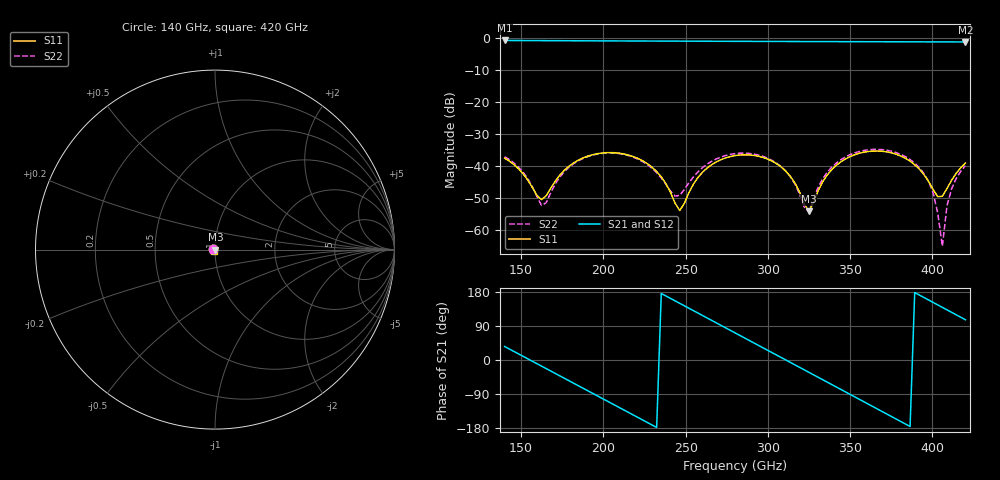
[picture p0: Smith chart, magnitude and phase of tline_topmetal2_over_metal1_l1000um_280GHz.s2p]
#  GHZ S DB R 50
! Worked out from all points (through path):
!   101 points, 140 GHz to 420 GHz, reference 50 ohm
!   highest |S21| = -0.81 dB at 140 GHz (marker M1); lowest = -1.3 dB at 420 GHz (marker M2)
!   group delay of S21, straight-line fit = 6.44 ps
!   lowest |S11| = -54.2 dB at 324.8 GHz (marker M3), VSWR 1.00, Z = 50.2 - j0.0438 ohm
!   |S11| at or under -10 dB: start of sweep to end of sweep
!   |S22| runs from -65.1 to -34.8 dB; largest |S21 - S12| = 1e-13
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140  -37.59 169.1  -0.81 35.7  -0.81 35.7  -37.12 172.5
151.2  -42.46 128.3  -0.83 9.8  -0.83 9.8  -41.97 134.8
162.4  -50.57 32.6  -0.86 -16.1  -0.86 -16.1  -52.35 45.0
187.6  -37.53 -114.7  -0.91 -74.3  -0.91 -74.3  -37.70 -116.2
207.2  -35.91 -171.8  -0.95 -119.7  -0.95 -119.7  -36.04 -173.1
221.2  -37.72 148.0  -0.98 -152.1  -0.98 -152.1  -37.96 145.3
235.2  -43.43 102.1  -1.00 175.5  -1.00 175.5  -43.80 92.2
246.4  -53.94 0.2  -1.02 149.6  -1.02 149.6  -49.23 -13.9
260.4  -41.93 -112.6  -1.05 117.1  -1.05 117.1  -40.49 -103.3
280  -36.80 -171.3  -1.08 71.7  -1.08 71.7  -36.18 -163.9
308  -40.34 109.5  -1.12 6.7  -1.12 6.7  -40.23 116.5
324.8  -54.24 -13.0  -1.15 -32.3  -1.15 -32.3  -54.38 -20.4
327.6  -51.61 -61.9  -1.15 -38.8  -1.15 -38.8  -50.55 -64.3
336  -42.89 -115.4  -1.16 -58.3  -1.16 -58.3  -42.05 -110.5
350  -37.10 -159.2  -1.18 -90.8  -1.18 -90.8  -36.49 -152.2
375.2  -35.95 131.9  -1.22 -149.4  -1.22 -149.4  -35.44 143.3
397.6  -44.85 52.5  -1.25 158.4  -1.25 158.4  -44.84 90.9
403.2  -49.64 -1.9  -1.25 145.4  -1.25 145.4  -54.81 87.6
406  -49.50 -43.6  -1.26 138.9  -1.26 138.9  -65.11 -174.2
408.8  -47.11 -75.9  -1.26 132.4  -1.26 132.4  -52.50 -133.1
411.6  -44.51 -96.7  -1.26 125.8  -1.26 125.8  -47.19 -134.6
420  -39.12 -133.2  -1.28 106.3  -1.28 106.3  -39.94 -151.6
